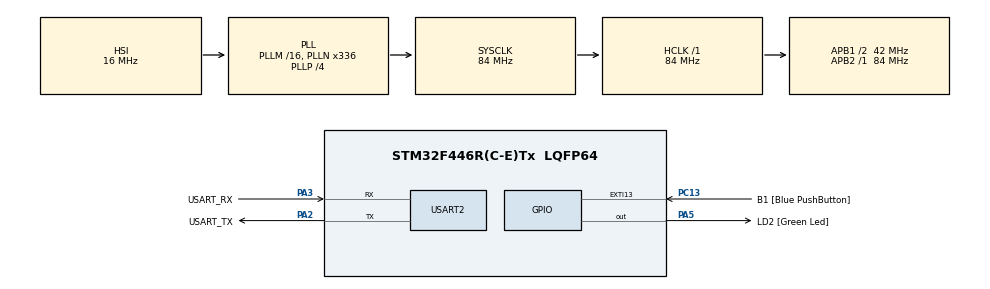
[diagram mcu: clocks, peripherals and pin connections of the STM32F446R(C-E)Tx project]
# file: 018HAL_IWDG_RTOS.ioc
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FREERTOS.Tasks01=defaultTask,24,128,StartDefaultTask,Default,NULL,Dynamic,NULL,NULL
IWDG.Prescaler=IWDG_PRESCALER_8
IWDG.Reload=123
Mcu.Family=STM32F4
Mcu.Name=STM32F446R(C-E)Tx
Mcu.Package=LQFP64
NVIC.EXTI15_10_IRQn=true\:5\:0\:false\:false\:true\:true\:true\:true\:true
NVIC.PriorityGroup=NVIC_PRIORITYGROUP_4
PA13.GPIO_Label=TMS
PA13.Mode=Serial_Wire
PA13.Signal=SYS_JTMS-SWDIO
PA14.GPIO_Label=TCK
PA14.Mode=Serial_Wire
PA14.Signal=SYS_JTCK-SWCLK
PA2.GPIO_Label=USART_TX
PA2.Mode=Asynchronous
PA2.Signal=USART2_TX
PA3.GPIO_Label=USART_RX
PA3.Mode=Asynchronous
PA3.Signal=USART2_RX
PA5.GPIO_Label=LD2 [Green Led]
PA5.Signal=GPIO_Output
PB3.GPIO_Label=SWO
PB3.Signal=SYS_JTDO-SWO
PC13.GPIO_Label=B1 [Blue PushButton]
PC13.GPIO_ModeDefaultEXTI=GPIO_MODE_IT_FALLING
PC13.Signal=GPXTI13
PC14-OSC32_IN.Mode=LSE-External-Oscillator
PC14-OSC32_IN.Signal=RCC_OSC32_IN
PC15-OSC32_OUT.Mode=LSE-External-Oscillator
PC15-OSC32_OUT.Signal=RCC_OSC32_OUT
PH0-OSC_IN.Mode=HSE-External-Oscillator
PH0-OSC_IN.Signal=RCC_OSC_IN
PH1-OSC_OUT.Mode=HSE-External-Oscillator
PH1-OSC_OUT.Signal=RCC_OSC_OUT
ProjectManager.HeapSize=0x200
ProjectManager.StackSize=0x400
ProjectManager.TargetToolchain=STM32CubeIDE
RCC.48MHZClocksFreq_Value=84000000
RCC.AHBFreq_Value=84000000
RCC.APB1CLKDivider=RCC_HCLK_DIV2
RCC.APB1Freq_Value=42000000
RCC.APB1TimFreq_Value=84000000
RCC.APB2Freq_Value=84000000
RCC.APB2TimFreq_Value=84000000
RCC.CortexFreq_Value=84000000
RCC.FLatency-AdvancedSettings=FLASH_LATENCY_2
RCC.HCLKFreq_Value=84000000
RCC.HSE_VALUE=8000000
RCC.HSI_VALUE=16000000
RCC.PLLN=336
RCC.PLLP=RCC_PLLP_DIV4
RCC.SYSCLKFreq_VALUE=84000000
RCC.SYSCLKSource=RCC_SYSCLKSOURCE_PLLCLK
RCC.USBFreq_Value=168000000
RCC.VCOOutputFreq_Value=336000000
USART2.VirtualMode=VM_ASYNC
VP_FREERTOS_VS_CMSIS_V2.Mode=CMSIS_V2
VP_IWDG_VS_IWDG.Mode=IWDG_Activate
board=NUCLEO-F446RE

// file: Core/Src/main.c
/* USER CODE BEGIN Header */
/**
  ******************************************************************************
  * @file           : main.c
  * @brief          : Main program body
  ******************************************************************************
  * @attention
  *
  * Copyright (c) 2024 STMicroelectronics.
  * All rights reserved.
  *
  * This software is licensed under terms that can be found in the LICENSE file
  * in the root directory of this software component.
  * If no LICENSE file comes with this software, it is provided AS-IS.
  *
  ******************************************************************************
  */
/* USER CODE END Header */
#include "main.h"
#include "cmsis_os.h"

/* USER CODE BEGIN Includes */
#include <stdio.h>
/* USER CODE END Includes */

IWDG_HandleTypeDef hiwdg;

UART_HandleTypeDef huart2;

/* Definitions for defaultTask */
osThreadId_t defaultTaskHandle;
const osThreadAttr_t defaultTask_attributes = {
  .name = "defaultTask",
  .stack_size = 128 * 4,
  .priority = (osPriority_t) osPriorityNormal,
};
/* USER CODE BEGIN PV */
osThreadId_t customTaskHandle;
const osThreadAttr_t customTask_attributes = {
  .name = "customTask",
  .stack_size = 128 * 4,
  .priority = (osPriority_t) osPriorityNormal,
};

osThreadId_t iwdgRefreshTaskHandle;
const osThreadAttr_t iwdgRefreshTask_attributes = {
  .name = "customTask",
  .stack_size = 128 * 4,
  .priority = (osPriority_t) osPriorityHigh,
};
/* USER CODE END PV */

void SystemClock_Config(void);
static void MX_GPIO_Init(void);
static void MX_USART2_UART_Init(void);
static void MX_IWDG_Init(void);
void StartDefaultTask(void *argument);

/* USER CODE BEGIN PFP */
void CustomTaskHandler(void *argument);
void IWDGRefreshTaskHandler(void *argument);
/* USER CODE END PFP */

int main(void)
{

  /* MCU Configuration--------------------------------------------------------*/

  /* Reset of all peripherals, Initializes the Flash interface and the Systick. */
  HAL_Init();

  /* Configure the system clock */
  SystemClock_Config();

  /* Initialize all configured peripherals */
  MX_GPIO_Init();
  MX_USART2_UART_Init();
  MX_IWDG_Init();
  /* USER CODE BEGIN 2 */
  if (__HAL_RCC_GET_FLAG(RCC_FLAG_IWDGRST)) {
      printf("Reset due to IWDG\n");
      __HAL_RCC_CLEAR_RESET_FLAGS();
  }
  /* USER CODE END 2 */

  /* Init scheduler */
  osKernelInitialize();

  /* Create the thread(s) */
  /* creation of defaultTask */
  defaultTaskHandle = osThreadNew(StartDefaultTask, NULL, &defaultTask_attributes);

  /* USER CODE BEGIN RTOS_THREADS */
  /* add threads, ... */

  customTaskHandle = osThreadNew(CustomTaskHandler, NULL, &customTask_attributes);

  iwdgRefreshTaskHandle = osThreadNew(IWDGRefreshTaskHandler, NULL, &iwdgRefreshTask_attributes);
  /* USER CODE END RTOS_THREADS */

  /* Start scheduler */
  osKernelStart();

  /* We should never get here as control is now taken by the scheduler */

  /* Infinite loop */
  while (1)
  {

  }
}

void SystemClock_Config(void)
{
  RCC_OscInitTypeDef RCC_OscInitStruct = {0};
  RCC_ClkInitTypeDef RCC_ClkInitStruct = {0};

  /** Configure the main internal regulator output voltage
  */
  __HAL_RCC_PWR_CLK_ENABLE();
  __HAL_PWR_VOLTAGESCALING_CONFIG(PWR_REGULATOR_VOLTAGE_SCALE3);

  /** Initializes the RCC Oscillators according to the specified parameters
  * in the RCC_OscInitTypeDef structure.
  */
  RCC_OscInitStruct.OscillatorType = RCC_OSCILLATORTYPE_HSI|RCC_OSCILLATORTYPE_LSI;
  RCC_OscInitStruct.HSIState = RCC_HSI_ON;
  RCC_OscInitStruct.HSICalibrationValue = RCC_HSICALIBRATION_DEFAULT;
  RCC_OscInitStruct.LSIState = RCC_LSI_ON;
  RCC_OscInitStruct.PLL.PLLState = RCC_PLL_ON;
  RCC_OscInitStruct.PLL.PLLSource = RCC_PLLSOURCE_HSI;
  RCC_OscInitStruct.PLL.PLLM = 16;
  RCC_OscInitStruct.PLL.PLLN = 336;
  RCC_OscInitStruct.PLL.PLLP = RCC_PLLP_DIV4;
  RCC_OscInitStruct.PLL.PLLQ = 2;
  RCC_OscInitStruct.PLL.PLLR = 2;
  if (HAL_RCC_OscConfig(&RCC_OscInitStruct) != HAL_OK)
  {
    Error_Handler();
  }

  /** Initializes the CPU, AHB and APB buses clocks
  */
  RCC_ClkInitStruct.ClockType = RCC_CLOCKTYPE_HCLK|RCC_CLOCKTYPE_SYSCLK
                              |RCC_CLOCKTYPE_PCLK1|RCC_CLOCKTYPE_PCLK2;
  RCC_ClkInitStruct.SYSCLKSource = RCC_SYSCLKSOURCE_PLLCLK;
  RCC_ClkInitStruct.AHBCLKDivider = RCC_SYSCLK_DIV1;
  RCC_ClkInitStruct.APB1CLKDivider = RCC_HCLK_DIV2;
  RCC_ClkInitStruct.APB2CLKDivider = RCC_HCLK_DIV1;

  if (HAL_RCC_ClockConfig(&RCC_ClkInitStruct, FLASH_LATENCY_2) != HAL_OK)
  {
    Error_Handler();
  }
}

static void MX_IWDG_Init(void)
{

  hiwdg.Instance = IWDG;
  hiwdg.Init.Prescaler = IWDG_PRESCALER_8;
  hiwdg.Init.Reload = 123;
  if (HAL_IWDG_Init(&hiwdg) != HAL_OK)
  {
    Error_Handler();
  }

}

static void MX_USART2_UART_Init(void)
{

  huart2.Instance = USART2;
  huart2.Init.BaudRate = 115200;
  huart2.Init.WordLength = UART_WORDLENGTH_8B;
  huart2.Init.StopBits = UART_STOPBITS_1;
  huart2.Init.Parity = UART_PARITY_NONE;
  huart2.Init.Mode = UART_MODE_TX_RX;
  huart2.Init.HwFlowCtl = UART_HWCONTROL_NONE;
  huart2.Init.OverSampling = UART_OVERSAMPLING_16;
  if (HAL_UART_Init(&huart2) != HAL_OK)
  {
    Error_Handler();
  }

}

static void MX_GPIO_Init(void)
{
  GPIO_InitTypeDef GPIO_InitStruct = {0};

  /* GPIO Ports Clock Enable */
  __HAL_RCC_GPIOC_CLK_ENABLE();
  __HAL_RCC_GPIOH_CLK_ENABLE();
  __HAL_RCC_GPIOA_CLK_ENABLE();
  __HAL_RCC_GPIOB_CLK_ENABLE();

  /*Configure GPIO pin Output Level */
  HAL_GPIO_WritePin(LD2_GPIO_Port, LD2_Pin, GPIO_PIN_RESET);

  /*Configure GPIO pin : B1_Pin */
  GPIO_InitStruct.Pin = B1_Pin;
  GPIO_InitStruct.Mode = GPIO_MODE_IT_FALLING;
  GPIO_InitStruct.Pull = GPIO_NOPULL;
  HAL_GPIO_Init(B1_GPIO_Port, &GPIO_InitStruct);

  /*Configure GPIO pin : LD2_Pin */
  GPIO_InitStruct.Pin = LD2_Pin;
  GPIO_InitStruct.Mode = GPIO_MODE_OUTPUT_PP;
  GPIO_InitStruct.Pull = GPIO_NOPULL;
  GPIO_InitStruct.Speed = GPIO_SPEED_FREQ_LOW;
  HAL_GPIO_Init(LD2_GPIO_Port, &GPIO_InitStruct);

  /* EXTI interrupt init*/
  HAL_NVIC_SetPriority(EXTI15_10_IRQn, 5, 0);
  HAL_NVIC_EnableIRQ(EXTI15_10_IRQn);

}

/* USER CODE BEGIN 4 */

#define DEBOUNCE_DELAY		50

void HAL_GPIO_EXTI_Callback(uint16_t GPIO_Pin)
{

	static uint32_t last_press_time = 0;

	if(GPIO_Pin == GPIO_PIN_13) {

		uint32_t curr_time = HAL_GetTick();	/* Get the current time in ms */

		/* if the time since last press is greater than the debounce delay. Report the press */
		if(curr_time - last_press_time > DEBOUNCE_DELAY) {
			printf("button pressed\n");
			last_press_time = curr_time;
		}
	}
}

void CustomTaskHandler(void *argument)
{
  for(;;)
  {
	  HAL_GPIO_TogglePin(LD2_GPIO_Port, LD2_Pin);
	  osDelay(100);
  }
}

void IWDGRefreshTaskHandler(void *argument)
{
	uint32_t wakeUpTime = osKernelGetTickCount();
  for(;;)
  {
	  HAL_IWDG_Refresh(&hiwdg);
	  wakeUpTime += 25;	/* sleep for next 950ms as iwdg timeout in 30ms */
	  osDelayUntil(wakeUpTime);
  }
}

/* USER CODE END 4 */

void StartDefaultTask(void *argument)
{
  /* USER CODE BEGIN 5 */
  /* Infinite loop */
  for(;;)
  {
	  printf("StartDefaultTask\n");
	  osDelay(2000);
  }
  /* USER CODE END 5 */
}

void Error_Handler(void)
{
  __disable_irq();
  while (1)
  {
  }
}
